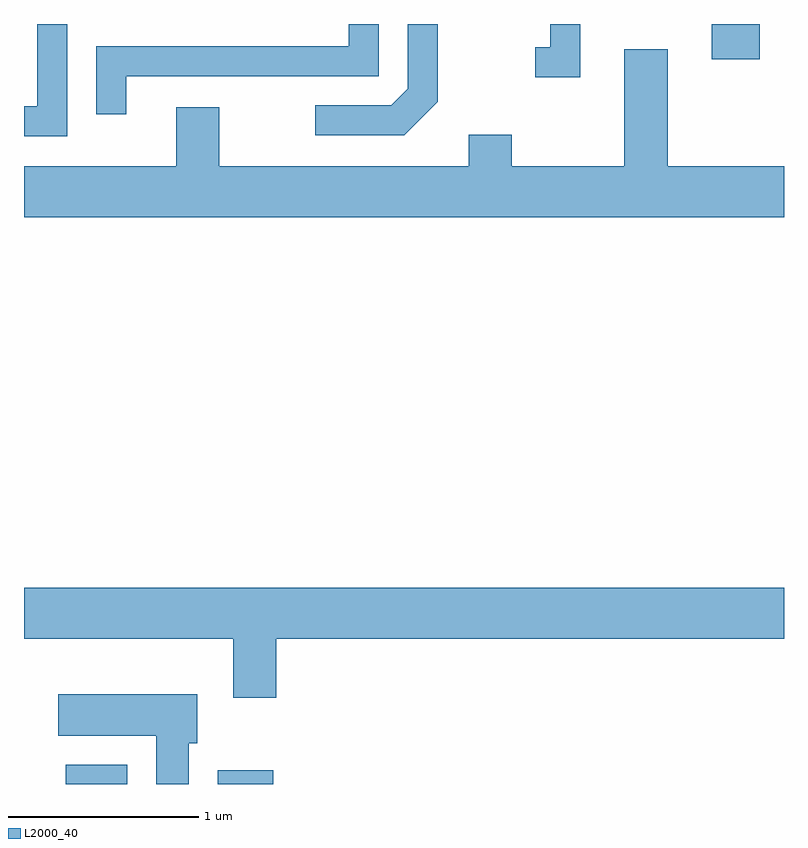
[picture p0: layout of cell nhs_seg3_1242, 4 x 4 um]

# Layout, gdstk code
import gdstk
lib = gdstk.Library(unit=1e-6, precision=1e-09)
def R(c, l, rs):  # rectangles x0, y0, x1, y1
    for r in rs: c.add(gdstk.rectangle(r[:2], r[2:], *l))
def P(c, l, *ps):  # polygons
    for p in ps: c.add(gdstk.Polygon(p, *l))
L2000_40 = (2000, 40)

nhs_seg3_1242 = lib.new_cell('nhs_seg3_1242')
R(nhs_seg3_1242, L2000_40, [(221.831,1151.892,222.154,1151.994), (222.631,1151.892,222.924,1151.964), (225.231,1155.706,225.484,1155.892)])
P(nhs_seg3_1242, L2000_40, [(224.539,1155.892),(224.381,1155.892),(224.381,1155.769),(224.303,1155.769),(224.303,1155.611),(224.539,1155.611)],
  [(222.149,1155.616),(223.479,1155.616),(223.479,1155.892),(223.321,1155.892),(223.321,1155.774),(221.991,1155.774),(221.991,1155.418),(222.149,1155.418)],
  [(221.839,1155.892),(221.681,1155.892),(221.681,1155.459),(221.611,1155.459),(221.611,1155.301),(221.839,1155.301)],
  [(223.789,1155.484),(223.789,1155.892),(223.631,1155.892),(223.631,1155.552),(223.544,1155.464),(223.143,1155.464),(223.143,1155.306),(223.612,1155.306)],
  [(225.611,1155.144),(224.999,1155.144),(224.999,1155.759),(224.771,1155.759),(224.771,1155.144),(224.179,1155.144),(224.179,1155.309),(223.951,1155.309),(223.951,1155.144),(222.639,1155.144),(222.639,1155.454),(222.411,1155.454),(222.411,1155.144),(221.611,1155.144),(221.611,1154.876),(225.611,1154.876)],
  [(222.939,1152.656),(225.611,1152.656),(225.611,1152.924),(221.611,1152.924),(221.611,1152.656),(222.711,1152.656),(222.711,1152.346),(222.939,1152.346)],
  [(222.479,1152.106),(222.524,1152.106),(222.524,1152.364),(221.791,1152.364),(221.791,1152.146),(222.306,1152.146),(222.306,1151.892),(222.479,1151.892)])

lib.write_gds('nhs_seg3_1242.gds')
